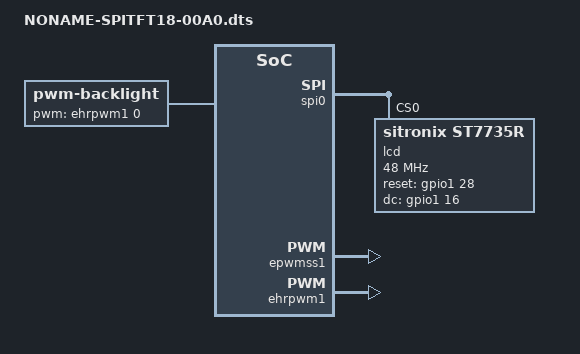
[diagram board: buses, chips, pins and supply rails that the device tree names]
/*
 * Copyright (C) 2014 Noralf Tronnes
 *
 * tinylcd35
 *
 * This program is free software; you can redistribute it and/or modify
 * it under the terms of the GNU General Public License version 2 as
 * published by the Free Software Foundation.
 */
/dts-v1/;
/plugin/;

/ {
	compatible = "ti,beaglebone", "ti,beaglebone-black";

	/* identification */
	part-number = "NONAME-SPITFT18";
	version = "00A0";

	/* state the resources this cape uses */
	exclusive-use =
		/* the pin header uses */
		"P9.17",	/* spi0_cs0 */
		"P9.18",	/* spi0_d1 MOSI */
		"P9.21",	/* spi0_d0 MISO */
		"P9.22",	/* spi0_sclk */
		"P9.12",	/* gpio_60 - reset */
		"P9.14",	/* backlight */
		"P9.15",	/* gpio_48 - dc */
		/* the hardware ip uses */
		"gpio1_16",
		"gpio1_28",
		"ehrpwm1A",
		"spi0";

	fragment@0 {
		target = <&am33xx_pinmux>;
		__overlay__ {
			bb_spi0_pins: pinmux_bb_spi0_pins {
				pinctrl-single,pins = <
					0x150 0x30	/* spi0_sclk, INPUT_PULLUP | MODE3 */
					0x154 0x30	/* spi0_d0, INPUT_PULLUP | MODE3 */
					0x158 0x10	/* spi0_d1, OUTPUT_PULLUP | MODE3 */
					0x15c 0x10	/* spi0_cs0, OUTPUT_PULLUP | MODE3 */
				>;
			};

			lcd_ctrl_pinmux: lcd_ctrl_pins {
				pinctrl-single,pins = <
					0x040 0x17	/* P9.15 gpio1_16  OUTPUT_PULLUP | MODE7 */
					0x078 0x17	/* P9.12 gpio1_28  OUTPUT_PULLUP | MODE7 */
				>;
			};

			pwm_bl_pins: pinmux_pwm_bl_pins {
				pinctrl-single,pins = <
					0x48 0x06       /* ehrpwm1a, MODE6 */
				>;
			};
		};
	};

	fragment@1 {
		target = <&spi0>;
		__overlay__ {
			status = "okay";
			pinctrl-names = "default";
			pinctrl-0 = <&bb_spi0_pins>;

			#address-cells = <1>;
			#size-cells = <0>;

			lcd@0{
				compatible = "sitronix,st7735r";
				reg = <0>;

				pinctrl-names = "default";
				pinctrl-0 = <&lcd_ctrl_pinmux>;

				spi-max-frequency = <48000000>;
				rotate = <90>;
				bgr;
				fps = <30>;
				buswidth = <8>;
				reset-gpios = <&gpio1 28 0>;
				dc-gpios = <&gpio1 16 0>;

				debug = <3>;
			};
		};
	};

	fragment@2 {
		target = <&epwmss1>;
		__overlay__ {
			status = "okay";
		};
	};

	fragment@3 {
		target = <&ehrpwm1>;
		__overlay__ {
			status = "okay";
		};
	};

	fragment@4 {
		target = <&ocp>;
		__overlay__ {
			backlight {
				compatible = "pwm-backlight";
				pinctrl-names = "default";
				pinctrl-0 = <&pwm_bl_pins>;
				status = "okay";

				pwms = <&ehrpwm1 0 500000 0>;
				pwm-names = "backlight";
				brightness-levels = <0 4 8 16 32 64 128 255>;
				default-brightness-level = <7>; /* index to the array above */
			};
		};
	};
};
